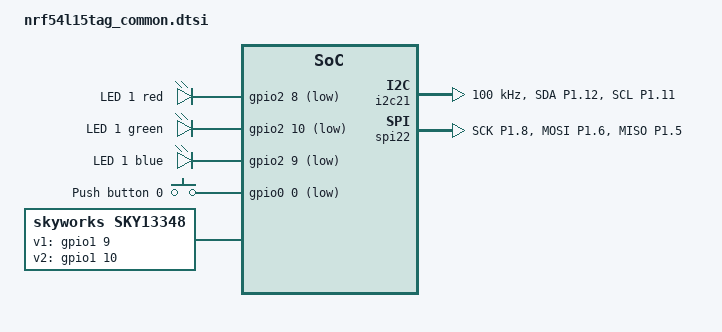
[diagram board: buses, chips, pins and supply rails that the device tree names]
/*
 * Copyright (c) 2025 Nordic Semiconductor ASA
 *
 * SPDX-License-Identifier: Apache-2.0
 */

#include <zephyr/dt-bindings/led/led.h>
#include <zephyr/dt-bindings/gpio/gpio.h>

/ {
	aliases {
		led0 = &led1_blue;
		sw0 = &button0;
	};

	leds {
		compatible = "gpio-leds";

		led1_red: led1_red {
			gpios = <&gpio2 8 GPIO_ACTIVE_LOW>;
			label = "LED 1 red";
		};

		led1_green: led1_green {
			gpios = <&gpio2 10 GPIO_ACTIVE_LOW>;
			label = "LED 1 green";
		};

		led1_blue: led1_blue {
			gpios = <&gpio2 9 GPIO_ACTIVE_LOW>;
			label = "LED 1 blue";
		};

		led2_red: led2_red {
			gpios = <&gpio0 2 GPIO_ACTIVE_LOW>;
			label = "LED 2 red";
			status = "disabled";
		};

		led2_green: led2_green {
			gpios = <&gpio0 4 GPIO_ACTIVE_LOW>;
			label = "LED 2 green";
			status = "disabled";
		};

		led2_blue: led2_blue {
			gpios = <&gpio2 7 GPIO_ACTIVE_LOW>;
			label = "LED 2 blue";
			status = "disabled";
		};
	};

	rgb_led_1: rgb_led_1 {
		compatible = "leds-group-multicolor";

		leds = <&led1_red>,
		       <&led1_green>,
		       <&led1_blue>;

		color-mapping = <LED_COLOR_ID_RED>,
				<LED_COLOR_ID_GREEN>,
				<LED_COLOR_ID_BLUE>;
	};

	rgb_led_2: rgb_led_2 {
		compatible = "leds-group-multicolor";

		leds = <&led2_red>,
		       <&led2_green>,
		       <&led2_blue>;

		color-mapping = <LED_COLOR_ID_RED>,
				<LED_COLOR_ID_GREEN>,
				<LED_COLOR_ID_BLUE>;
		status = "disabled";
	};

	buttons {
		compatible = "gpio-keys";

		button0: button0 {
			gpios = <&gpio0 0 (GPIO_PULL_UP | GPIO_ACTIVE_LOW)>;
			label = "Push button 0";
			zephyr,code = <INPUT_KEY_0>;
		};

		button1: button1 {
			gpios = <&gpio0 1 (GPIO_PULL_UP | GPIO_ACTIVE_LOW)>;
			label = "Push button 1";
			zephyr,code = <INPUT_KEY_1>;
			status = "disabled";
		};
	};

	sky13348: sky13348 {
		compatible = "skyworks,sky13348";
		v1-gpios = <&gpio1 9 GPIO_ACTIVE_HIGH>;
		v2-gpios = <&gpio1 10 GPIO_ACTIVE_HIGH>;
	};
};

&pinctrl {
	i2c21_default: i2c21_default {
		group1 {
			psels = <NRF_PSEL(TWIM_SDA, 1, 12)>,
				<NRF_PSEL(TWIM_SCL, 1, 11)>;
		};
	};

	i2c21_sleep: i2c21_sleep {
		group1 {
			psels = <NRF_PSEL(TWIM_SDA, 1, 12)>,
				<NRF_PSEL(TWIM_SCL, 1, 11)>;
			low-power-enable;
		};
	};

	spi22_default: spi22_default {
		group1 {
			psels = <NRF_PSEL(SPIM_SCK, 1, 8)>,
				<NRF_PSEL(SPIM_MOSI, 1, 6)>,
				<NRF_PSEL(SPIM_MISO, 1, 5)>;
		};
	};

	spi22_sleep: spi22_sleep {
		group1 {
			psels = <NRF_PSEL(SPIM_SCK, 1, 8)>,
				<NRF_PSEL(SPIM_MOSI, 1, 6)>,
				<NRF_PSEL(SPIM_MISO, 1, 5)>;
			low-power-enable;
		};
	};
};

&i2c21 {
	pinctrl-0 = <&i2c21_default>;
	pinctrl-1 = <&i2c21_sleep>;
	pinctrl-names = "default", "sleep";
	clock-frequency = <I2C_BITRATE_STANDARD>;
	zephyr,concat-buf-size = <256>;

	bme688: bme688@76 {
		compatible = "bosch,bme680";
		reg = <0x76>;
		status = "disabled";
	};

	adxl367: adxl367@1d {
		compatible = "adi,adxl367";
		reg = <0x1d>;
		status = "disabled";
	};
};

&spi22 {
	pinctrl-0 = <&spi22_default>;
	pinctrl-1 = <&spi22_sleep>;
	pinctrl-names = "default", "sleep";
	overrun-character = <0x00>;
	cs-gpios = <&gpio1 7 GPIO_ACTIVE_LOW>;

	bmi270: bmi270@0 {
		compatible = "bosch,bmi270";
		reg = <0>;
		spi-max-frequency = <DT_FREQ_M(8)>;
		irq-gpios = <&gpio1 4 GPIO_ACTIVE_HIGH>;
		status = "disabled";
	};
};

&gpio0 {
	status = "okay";
};

&gpio1 {
	status = "okay";
};

&gpio2 {
	status = "okay";
};

&gpiote20 {
	status = "okay";
};

&gpiote30 {
	status = "okay";
};
